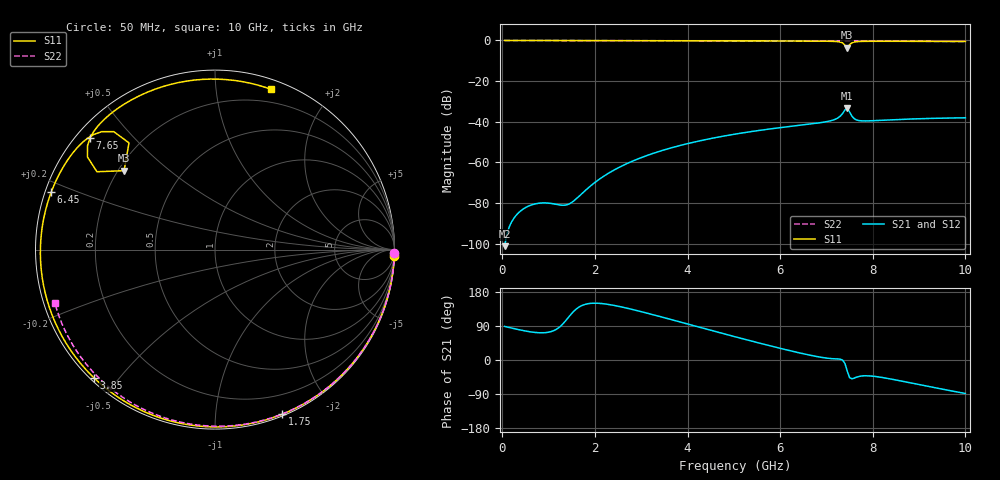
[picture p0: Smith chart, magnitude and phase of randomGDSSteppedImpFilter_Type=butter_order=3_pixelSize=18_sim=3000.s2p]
! freq	dB(S11)	phase(S11)	dB(S12)	phase(S12)
!  dB(S21)	phase(S21)	dB(S22)	phase(S22)
!S-par simulation data
#  GHz  S  DB  R 50
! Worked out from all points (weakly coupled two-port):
!   200 points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, 50 MHz to 10 GHz, reference 50 ohm
!   highest |S21| = -33.37 dB at 7.45 GHz (marker M1); lowest = -101.2 dB at 50 MHz (marker M2)
!   lowest |S11| = -3.5 dB at 7.45 GHz (marker M3), VSWR 5.07, Z = 11.2 + j17.9 ohm
!   |S11| at or under -10 dB: nowhere
!   |S22| runs from -0.5 to 0.0 dB; largest |S21 - S12| = 0
!   S11 on the Smith chart (normalised r, x): 50 MHz: 0, -56; 1.75 GHz: 0.02, -1.49; 3.85 GHz: 0.01, -0.43; 6.45 GHz: 0.02, +0.17; 7.65 GHz: 0.04, +0.38; 10 GHz: 0.08, +1.40
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0.05  -0.00 -2.1  -101.15 88.6  -101.15 88.6  -0.00 -1.0
0.7  -0.04 -28.2  -80.41 72.8  -80.41 72.8  -0.02 -13.2
1.45  -0.07 -57.0  -80.31 115.8  -80.31 115.8  -0.03 -27.1
1.75  -0.08 -67.8  -74.66 145.3  -74.66 145.3  -0.04 -32.6
2.1  -0.09 -80.0  -68.15 149.4  -68.15 149.4  -0.05 -39.0
2.45  -0.11 -91.6  -63.26 143.2  -63.26 143.2  -0.06 -45.2
3.4  -0.14 -120.6  -54.47 114.8  -54.47 114.8  -0.08 -61.8
3.85  -0.15 -133.2  -51.57 100.1  -51.57 100.1  -0.09 -69.3
5.05  -0.21 -164.5  -45.97 60.6  -45.97 60.6  -0.14 -88.8
5.75  -0.24 178.1  -43.60 38.4  -43.60 38.4  -0.17 -99.7
6.45  -0.29 160.6  -41.64 17.8  -41.64 17.8  -0.21 -110.2
6.7  -0.32 154.1  -40.95 11.3  -40.95 11.3  -0.22 -113.9
7.1  -0.42 142.5  -39.44 3.7  -39.44 3.7  -0.25 -119.8
7.3  -0.81 133.8  -37.17 2.1  -37.17 2.1  -0.26 -122.7
7.4  -2.34 128.9  -34.12 -9.4  -34.12 -9.4  -0.27 -124.1
7.45  -3.47 139.0  -33.37 -29.7  -33.37 -29.7  -0.27 -124.8
7.5  -2.07 146.6  -35.19 -46.4  -35.19 -46.4  -0.28 -125.6
7.55  -1.12 144.0  -37.25 -49.7  -37.25 -49.7  -0.28 -126.3
7.65  -0.59 138.1  -39.09 -45.3  -39.09 -45.3  -0.29 -127.8
8.35  -0.40 116.0  -39.07 -49.3  -39.07 -49.3  -0.35 -137.8
9.2  -0.44 92.9  -38.36 -69.7  -38.36 -69.7  -0.44 -150.1
10  -0.48 70.9  -38.03 -88.4  -38.03 -88.4  -0.53 -161.7
